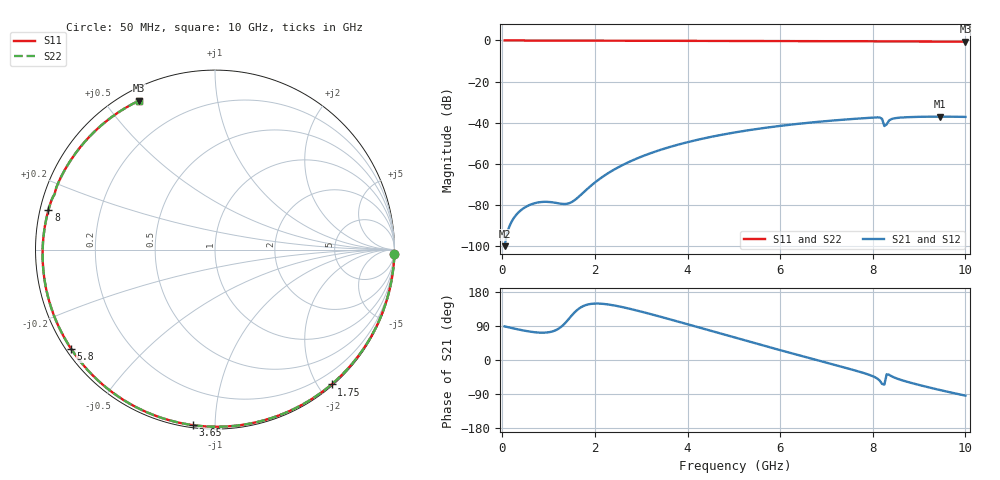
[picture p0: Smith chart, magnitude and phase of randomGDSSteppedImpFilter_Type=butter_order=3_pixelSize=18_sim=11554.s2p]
! freq	dB(S11)	phase(S11)	dB(S12)	phase(S12)
!  dB(S21)	phase(S21)	dB(S22)	phase(S22)
!S-par simulation data
#  GHz  S  DB  R 50
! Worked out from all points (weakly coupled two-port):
!   200 points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, 50 MHz to 10 GHz, reference 50 ohm
!   highest |S21| = -37.02 dB at 9.45 GHz (marker M1); lowest = -100.0 dB at 50 MHz (marker M2)
!   lowest |S11| = -0.6 dB at 10 GHz (marker M3), VSWR 28.21, Z = 2.44 + j30.6 ohm
!   |S11| at or under -10 dB: nowhere
!   |S22| runs from -0.6 to 0.0 dB; largest |S21 - S12| = 0
!   S11 on the Smith chart (normalised r, x): 50 MHz: 0, -79; 1.75 GHz: 0.02, -2.19; 3.65 GHz: 0.01, -0.88; 5.8 GHz: 0.01, -0.31; 8 GHz: 0.02, +0.12; 10 GHz: 0.05, +0.61
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0.05  -0.00 -1.5  -99.96 88.7  -99.96 88.7  -0.00 -1.5
0.55  -0.02 -15.8  -80.36 75.8  -80.36 75.8  -0.02 -15.8
0.9  -0.03 -25.7  -78.42 72.1  -78.42 72.1  -0.03 -25.7
1.4  -0.05 -39.6  -79.34 103.2  -79.34 103.2  -0.05 -39.6
1.55  -0.05 -43.7  -77.80 124.2  -77.80 124.2  -0.05 -43.7
1.75  -0.06 -49.2  -73.91 142.4  -73.91 142.4  -0.06 -49.2
2.1  -0.07 -58.5  -67.31 148.8  -67.31 148.8  -0.07 -58.5
2.45  -0.08 -67.6  -62.29 143.2  -62.29 143.2  -0.08 -67.6
3.4  -0.12 -91.3  -53.27 114.7  -53.27 114.7  -0.12 -91.3
3.65  -0.13 -97.2  -51.55 106.3  -51.55 106.3  -0.13 -97.3
4.3  -0.15 -112.3  -47.84 84.0  -47.84 84.0  -0.15 -112.3
5.05  -0.19 -129.1  -44.58 58.2  -44.58 58.2  -0.19 -129.1
5.8  -0.23 -145.4  -42.08 32.7  -42.08 32.7  -0.23 -145.4
6.7  -0.29 -164.7  -39.79 2.8  -39.79 2.8  -0.29 -164.7
7.35  -0.35 -178.9  -38.52 -18.6  -38.52 -18.6  -0.35 -178.9
8  -0.41 166.5  -37.48 -42.7  -37.48 -42.7  -0.41 166.5
8.2  -0.46 161.8  -38.08 -63.0  -38.08 -63.0  -0.45 161.8
8.25  -0.49 160.9  -41.57 -65.0  -41.57 -65.0  -0.49 160.8
8.35  -0.45 158.7  -38.92 -38.8  -38.92 -38.8  -0.45 158.7
8.6  -0.47 152.7  -37.48 -52.3  -37.48 -52.3  -0.47 152.7
9.45  -0.56 131.6  -37.02 -79.2  -37.02 -79.2  -0.56 131.6
10  -0.62 117.0  -37.15 -94.0  -37.15 -94.0  -0.62 116.9
